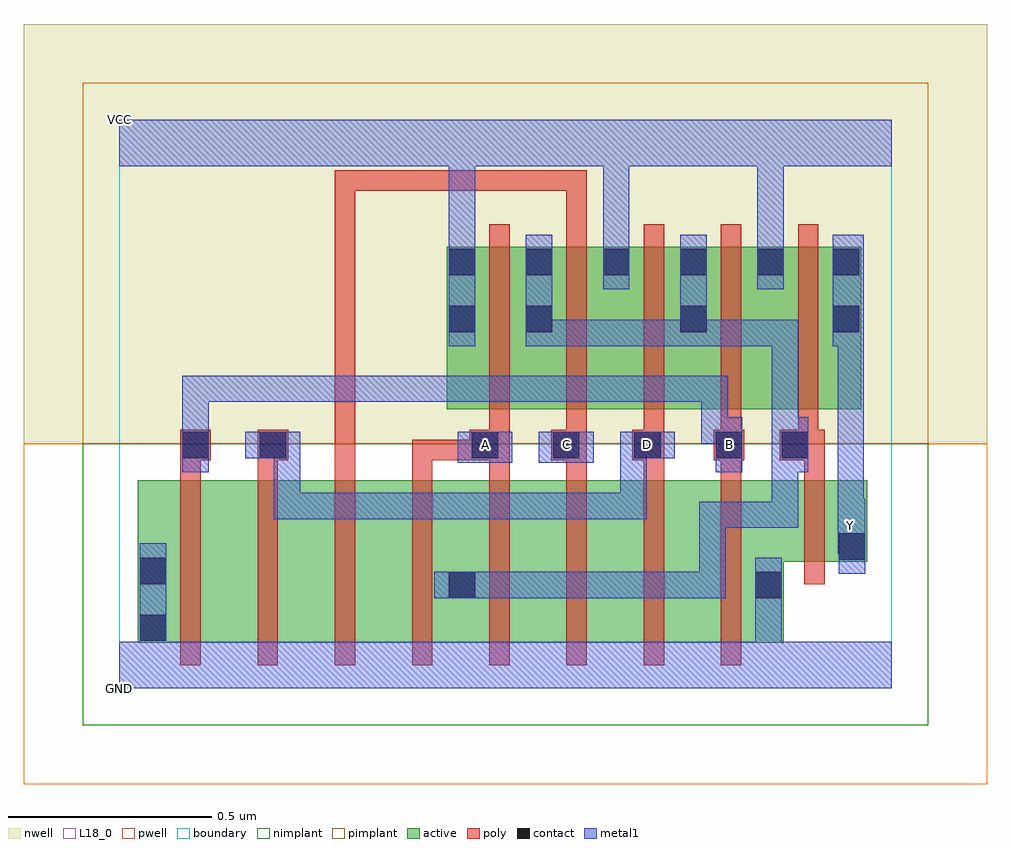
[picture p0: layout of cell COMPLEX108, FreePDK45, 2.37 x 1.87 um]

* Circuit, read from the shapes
.subckt COMPLEX108 A B C D GND VCC Y
M1 n1 B GND VSUBS nfet w=0.4u l=0.05u
M2 n2 D n1 VSUBS nfet w=0.4u l=0.05u
M3 n3 C n2 VSUBS nfet w=0.4u l=0.05u
M4 n4 A n3 VSUBS nfet w=0.4u l=0.05u
M5 n5 A n4 VSUBS nfet w=0.4u l=0.05u
M6 n6 C n5 VSUBS nfet w=0.4u l=0.05u
M7 n7 D n6 VSUBS nfet w=0.4u l=0.05u
M8 GND B n7 VSUBS nfet w=0.4u l=0.05u
M9 Y n4 GND VSUBS nfet w=0.2u l=0.05u
M10 n4 A VCC n8 pfet w=0.4u l=0.05u
M11 VCC C n4 n8 pfet w=0.4u l=0.05u
M12 n4 D VCC n8 pfet w=0.4u l=0.05u
M13 VCC B n4 n8 pfet w=0.4u l=0.05u
M14 Y n4 VCC n8 pfet w=0.4u l=0.05u
.ends

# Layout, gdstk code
import gdstk
lib = gdstk.Library(unit=1e-6, precision=1e-09)
def R(c, l, rs):  # rectangles x0, y0, x1, y1
    for r in rs: c.add(gdstk.rectangle(r[:2], r[2:], *l))
def A(c, l, x, y, w, h, nx, ny, dx, dy):  # array of equal rectangles
    R(c, l, [(x+i*dx, y+j*dy, x+i*dx+w, y+j*dy+h) for i in range(nx) for j in range(ny)])
active = (1, 0)
pwell = (2, 0)
nwell = (3, 0)
nimplant = (4, 0)
pimplant = (5, 0)
poly = (9, 0)
contact = (10, 0)
metal1 = (11, 0)
L18_0 = (18, 0)
boundary = (235, 0)

complex108 = lib.new_cell('COMPLEX108')
A(complex108, active, 0.805, 0.687, 0.265, 0.4, 4, 1, 0.19, 0)
R(complex108, active, [(0.045,0.112,0.12,0.512), (0.045,0.112,0.27,0.512), (0.27,0.112,0.46,0.512), (0.46,0.112,0.65,0.512), (0.65,0.112,0.88,0.512), (0.805,0.112,1.03,0.512), (1.03,0.112,1.22,0.512), (1.22,0.112,1.41,0.512), (1.41,0.112,1.635,0.512), (1.56,0.112,1.635,0.512), (0.805,0.147,0.88,0.492), (1.56,0.312,1.84,0.512), (1.765,0.312,1.84,0.512), (1.565,0.687,1.825,1.087), (1.75,0.687,1.825,1.087), (0.805,0.782,0.88,1.087), (0.995,0.802,1.07,1.087), (1.375,0.802,1.45,1.087), (1.185,0.907,1.26,1.087), (1.565,0.907,1.64,1.087)])
R(complex108, pwell, [(-0.235,-0.235,2.135,0.602)])
R(complex108, nwell, [(-0.235,0.602,2.135,1.635)])
R(complex108, nimplant, [(-0.09,-0.09,1.99,0.602)])
R(complex108, pimplant, [(-0.09,0.602,1.99,1.49)])
A(complex108, poly, 0.15, 0.057, 0.05, 0.51, 8, 1, 0.19, 0)
A(complex108, poly, 0.72, 0.517, 0.05, 0.095, 5, 1, 0.19, 0)
A(complex108, poly, 0.91, 0.587, 0.05, 0.095, 5, 1, 0.19, 0)
A(complex108, poly, 0.91, 0.632, 0.05, 0.51, 5, 1, 0.19, 0)
R(complex108, poly, [(1.685,0.257,1.735,0.567), (0.15,0.517,0.2,0.612), (0.34,0.517,0.39,0.612), (0.53,0.517,0.58,1.275), (1.685,0.517,1.735,0.612), (0.15,0.562,0.225,0.637), (0.34,0.562,0.415,0.637), (0.72,0.562,0.77,0.612), (0.72,0.562,0.77,0.612), (0.72,0.562,0.77,0.612), (0.72,0.562,0.912,0.612), (0.862,0.562,0.96,0.637), (1.062,0.562,1.15,0.637), (1.262,0.562,1.34,0.637), (1.462,0.562,1.537,0.637), (1.625,0.562,1.735,0.637), (1.1,1.092,1.15,1.275), (0.53,1.225,0.58,1.275), (0.53,1.225,0.58,1.275), (0.53,1.225,0.58,1.275), (0.53,1.225,0.58,1.275), (0.53,1.225,0.58,1.275), (0.53,1.225,0.58,1.275), (0.53,1.225,0.58,1.275), (0.53,1.225,0.755,1.275), (0.705,1.225,0.755,1.275), (0.705,1.225,0.755,1.275), (0.705,1.225,0.755,1.275), (0.705,1.225,0.755,1.275), (0.705,1.225,0.755,1.275), (0.705,1.225,0.755,1.275), (0.705,1.225,0.755,1.275), (0.705,1.225,0.755,1.275), (0.705,1.225,0.755,1.275), (0.705,1.225,0.902,1.275), (0.852,1.225,0.902,1.275), (0.852,1.225,1.15,1.275), (1.1,1.225,1.15,1.275), (1.1,1.225,1.15,1.275), (1.1,1.225,1.15,1.275)])
A(complex108, contact, 0.867, 0.567, 0.065, 0.065, 4, 1, 0.2, 0)
A(complex108, contact, 0.81, 1.017, 0.065, 0.065, 5, 1, 0.19, 0)
R(complex108, contact, [(0.05,0.117,0.115,0.182), (0.81,0.222,0.875,0.287), (1.565,0.222,1.63,0.287), (0.05,0.257,0.115,0.322), (1.77,0.317,1.835,0.382), (0.155,0.567,0.22,0.632), (0.345,0.567,0.41,0.632), (1.63,0.567,1.695,0.632), (0.81,0.877,0.875,0.942), (1,0.877,1.065,0.942), (1.38,0.877,1.445,0.942), (1.755,0.877,1.82,0.942), (1.755,1.017,1.82,1.082)])
A(complex108, metal1, 0.81, 1.052, 0.065, 0.298, 3, 1, 0.38, 0)
R(complex108, metal1, [(0,0,1.9,0.115), (0.05,0.05,0.115,0.147), (1.565,0.05,1.63,0.252), (0.05,0.082,0.115,0.357), (1.565,0.187,1.63,0.322), (0.775,0.222,0.91,0.287), (0.845,0.222,0.91,0.287), (0.845,0.222,0.91,0.287), (0.845,0.222,1.117,0.287), (1.052,0.222,1.117,0.287), (1.052,0.222,1.117,0.287), (1.052,0.222,1.117,0.287), (1.052,0.222,1.307,0.287), (1.242,0.222,1.307,0.287), (1.242,0.222,1.307,0.287), (1.242,0.222,1.307,0.287), (1.242,0.222,1.492,0.287), (1.427,0.222,1.492,0.287), (1.427,0.222,1.492,0.46), (1.77,0.282,1.835,0.417), (1.767,0.332,1.835,0.467), (1.77,0.352,1.835,0.417), (1.427,0.395,1.492,0.46), (1.427,0.395,1.505,0.46), (1.44,0.395,1.505,0.46), (1.44,0.395,1.67,0.46), (1.605,0.395,1.67,0.46), (1.605,0.395,1.67,0.597), (1.767,0.402,1.832,0.907), (0.38,0.417,0.445,0.482), (0.38,0.417,0.445,0.632), (0.38,0.417,0.582,0.482), (0.517,0.417,0.582,0.482), (0.517,0.417,0.582,0.482), (0.517,0.417,0.582,0.482), (0.517,0.417,0.72,0.482), (0.655,0.417,0.72,0.482), (0.655,0.417,0.72,0.482), (0.655,0.417,0.72,0.482), (0.655,0.417,0.927,0.482), (0.862,0.417,0.927,0.482), (0.862,0.417,1.117,0.482), (1.052,0.417,1.117,0.482), (1.052,0.417,1.117,0.482), (1.052,0.417,1.117,0.482), (1.052,0.417,1.297,0.482), (1.232,0.417,1.297,0.482), (1.232,0.417,1.297,0.482), (1.232,0.417,1.297,0.632), (0.155,0.532,0.22,0.667), (1.467,0.532,1.532,0.667), (1.605,0.532,1.67,0.597), (1.605,0.532,1.695,0.597), (1.605,0.532,1.67,0.907), (1.63,0.532,1.695,0.667), (0.832,0.555,0.967,0.632), (1.032,0.555,1.167,0.632), (0.31,0.567,0.445,0.632), (0.38,0.567,0.445,0.632), (0.38,0.567,0.445,0.632), (1.232,0.567,1.297,0.632), (1.232,0.567,1.367,0.632), (0.155,0.602,0.22,0.667), (0.155,0.602,0.22,0.667), (0.155,0.602,0.22,0.77), (1.432,0.602,1.497,0.667), (1.432,0.602,1.532,0.667), (1.432,0.602,1.497,0.77), (0.155,0.705,0.22,0.77), (0.155,0.705,0.445,0.77), (0.38,0.705,0.445,0.77), (0.38,0.705,0.445,0.77), (0.38,0.705,0.445,0.77), (0.38,0.705,0.582,0.77), (0.517,0.705,0.582,0.77), (0.517,0.705,0.582,0.77), (0.517,0.705,0.582,0.77), (0.517,0.705,0.72,0.77), (0.655,0.705,0.72,0.77), (0.655,0.705,0.72,0.77), (0.655,0.705,0.72,0.77), (0.655,0.705,0.857,0.77), (0.792,0.705,0.857,0.77), (0.792,0.705,1.117,0.77), (1.052,0.705,1.117,0.77), (1.052,0.705,1.117,0.77), (1.052,0.705,1.117,0.77), (1.052,0.705,1.307,0.77), (1.242,0.705,1.307,0.77), (1.242,0.705,1.307,0.77), (1.242,0.705,1.307,0.77), (1.242,0.705,1.497,0.77), (1.432,0.705,1.497,0.77), (0.81,0.842,0.875,1.117), (1,0.842,1.065,0.907), (1,0.842,1.065,0.907), (1,0.842,1.065,1.117), (1,0.842,1.305,0.907), (1.24,0.842,1.305,0.907), (1.24,0.842,1.305,0.907), (1.24,0.842,1.305,0.907), (1.24,0.842,1.445,0.907), (1.38,0.842,1.505,0.907), (1.38,0.842,1.445,1.117), (1.44,0.842,1.505,0.907), (1.44,0.842,1.67,0.907), (1.605,0.842,1.67,0.907), (1.605,0.842,1.67,0.907), (1.605,0.842,1.67,0.907), (1.755,0.842,1.832,1.117), (1.19,0.982,1.255,1.117), (1.57,0.982,1.635,1.117), (0.81,1.052,0.875,1.117), (0.81,1.052,0.875,1.117), (1.19,1.052,1.255,1.117), (1.19,1.052,1.255,1.117), (1.57,1.052,1.635,1.117), (1.57,1.052,1.635,1.117), (0,1.285,1.9,1.4)])
A(complex108, L18_0, 0.81, 1.052, 0.065, 0.298, 3, 1, 0.38, 0)
R(complex108, L18_0, [(0,0,1.9,0.115), (0.05,0.05,0.115,0.147), (1.565,0.05,1.63,0.252), (0.05,0.082,0.115,0.357), (1.565,0.187,1.63,0.322), (1.77,0.282,1.835,0.417), (1.767,0.332,1.835,0.467), (1.77,0.352,1.835,0.417), (1.767,0.367,1.832,0.432), (1.767,0.402,1.832,0.907), (0.38,0.417,0.445,0.482), (0.38,0.417,0.445,0.632), (0.38,0.417,0.582,0.482), (0.517,0.417,0.582,0.482), (0.517,0.417,0.582,0.482), (0.517,0.417,0.582,0.482), (0.517,0.417,0.72,0.482), (0.655,0.417,0.72,0.482), (0.655,0.417,0.72,0.482), (0.655,0.417,0.72,0.482), (0.655,0.417,0.927,0.482), (0.862,0.417,0.927,0.482), (0.862,0.417,1.117,0.482), (1.052,0.417,1.117,0.482), (1.052,0.417,1.117,0.482), (1.052,0.417,1.117,0.482), (1.052,0.417,1.297,0.482), (1.232,0.417,1.297,0.482), (1.232,0.417,1.297,0.482), (1.232,0.417,1.297,0.632), (0.155,0.532,0.22,0.667), (1.467,0.532,1.532,0.667), (0.832,0.555,0.967,0.632), (1.032,0.555,1.167,0.632), (0.31,0.567,0.445,0.632), (0.38,0.567,0.445,0.632), (0.38,0.567,0.445,0.632), (0.867,0.567,0.932,0.632), (1.067,0.567,1.132,0.632), (1.232,0.567,1.297,0.632), (1.232,0.567,1.367,0.632), (1.267,0.567,1.332,0.632), (1.467,0.567,1.532,0.632), (0.155,0.602,0.22,0.667), (0.155,0.602,0.22,0.667), (0.155,0.602,0.22,0.77), (1.432,0.602,1.497,0.667), (1.432,0.602,1.497,0.77), (1.432,0.602,1.532,0.667), (0.155,0.705,0.22,0.77), (0.155,0.705,0.445,0.77), (0.38,0.705,0.445,0.77), (0.38,0.705,0.445,0.77), (0.38,0.705,0.445,0.77), (0.38,0.705,0.582,0.77), (0.517,0.705,0.582,0.77), (0.517,0.705,0.582,0.77), (0.517,0.705,0.582,0.77), (0.517,0.705,0.72,0.77), (0.655,0.705,0.72,0.77), (0.655,0.705,0.72,0.77), (0.655,0.705,0.72,0.77), (0.655,0.705,0.857,0.77), (0.792,0.705,0.857,0.77), (0.792,0.705,1.117,0.77), (1.052,0.705,1.117,0.77), (1.052,0.705,1.117,0.77), (1.052,0.705,1.117,0.77), (1.052,0.705,1.307,0.77), (1.242,0.705,1.307,0.77), (1.242,0.705,1.307,0.77), (1.242,0.705,1.307,0.77), (1.242,0.705,1.497,0.77), (1.432,0.705,1.497,0.77), (0.81,0.842,0.875,1.117), (1.755,0.842,1.832,1.117), (1.19,0.982,1.255,1.117), (1.57,0.982,1.635,1.117), (0.81,1.052,0.875,1.117), (0.81,1.052,0.875,1.117), (1.19,1.052,1.255,1.117), (1.19,1.052,1.255,1.117), (1.57,1.052,1.635,1.117), (1.57,1.052,1.635,1.117), (0,1.285,1.9,1.4)])
R(complex108, boundary, [(0,0,1.9,1.4)])
complex108.add(gdstk.Label('A', (0.9,0.6), layer=11, texttype=0))
complex108.add(gdstk.Label('B', (1.5,0.6), layer=11, texttype=0))
complex108.add(gdstk.Label('C', (1.1,0.6), layer=11, texttype=0))
complex108.add(gdstk.Label('D', (1.3,0.6), layer=11, texttype=0))
complex108.add(gdstk.Label('Y', (1.8,0.4), layer=11, texttype=0))
complex108.add(gdstk.Label('VCC', (0,1.4), layer=11, texttype=0))
complex108.add(gdstk.Label('GND', (0,0), layer=11, texttype=0))

lib.write_gds('COMPLEX108.gds')
